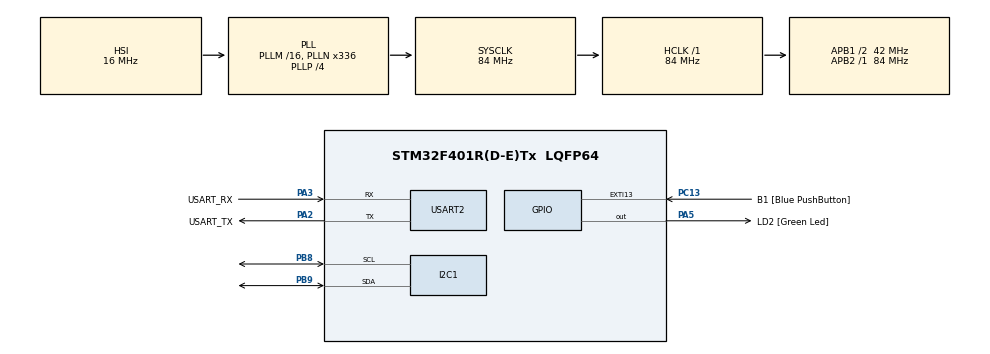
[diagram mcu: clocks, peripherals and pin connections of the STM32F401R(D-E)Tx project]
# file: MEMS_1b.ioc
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Dma.Request0=USART2_TX
Dma.USART2_TX.0.Direction=DMA_MEMORY_TO_PERIPH
Dma.USART2_TX.0.FIFOMode=DMA_FIFOMODE_DISABLE
Dma.USART2_TX.0.Instance=DMA1_Stream6
Dma.USART2_TX.0.MemDataAlignment=DMA_MDATAALIGN_BYTE
Dma.USART2_TX.0.MemInc=DMA_MINC_ENABLE
Dma.USART2_TX.0.Mode=DMA_NORMAL
Dma.USART2_TX.0.PeriphDataAlignment=DMA_PDATAALIGN_BYTE
Dma.USART2_TX.0.PeriphInc=DMA_PINC_DISABLE
Dma.USART2_TX.0.Priority=DMA_PRIORITY_LOW
Mcu.Family=STM32F4
Mcu.Name=STM32F401R(D-E)Tx
Mcu.Package=LQFP64
NVIC.DMA1_Stream6_IRQn=true\:0\:0\:false\:false\:true\:false\:true\:true
NVIC.PriorityGroup=NVIC_PRIORITYGROUP_0
NVIC.TIM2_IRQn=true\:0\:0\:false\:false\:true\:true\:true\:true
NVIC.USART2_IRQn=true\:0\:0\:false\:false\:true\:true\:true\:true
PA13.GPIO_Label=TMS
PA13.Mode=Serial_Wire
PA13.Signal=SYS_JTMS-SWDIO
PA14.GPIO_Label=TCK
PA14.Mode=Serial_Wire
PA14.Signal=SYS_JTCK-SWCLK
PA2.GPIO_Label=USART_TX
PA2.GPIO_Mode=GPIO_MODE_AF_PP
PA2.GPIO_PuPd=GPIO_NOPULL
PA2.GPIO_Speed=GPIO_SPEED_FREQ_LOW
PA2.Mode=Asynchronous
PA2.Signal=USART2_TX
PA3.GPIO_Label=USART_RX
PA3.GPIO_Mode=GPIO_MODE_AF_PP
PA3.GPIO_PuPd=GPIO_NOPULL
PA3.GPIO_Speed=GPIO_SPEED_FREQ_LOW
PA3.Mode=Asynchronous
PA3.Signal=USART2_RX
PA5.GPIO_Label=LD2 [Green Led]
PA5.GPIO_Mode=GPIO_MODE_OUTPUT_PP
PA5.GPIO_PuPd=GPIO_NOPULL
PA5.GPIO_Speed=GPIO_SPEED_FREQ_LOW
PA5.Signal=GPIO_Output
PB3.GPIO_Label=SWO
PB3.Signal=SYS_JTDO-SWO
PB8.Mode=I2C
PB8.Signal=I2C1_SCL
PB9.Mode=I2C
PB9.Signal=I2C1_SDA
PC13-ANTI_TAMP.GPIO_Label=B1 [Blue PushButton]
PC13-ANTI_TAMP.GPIO_ModeDefaultEXTI=GPIO_MODE_IT_FALLING
PC13-ANTI_TAMP.GPIO_PuPd=GPIO_NOPULL
PC13-ANTI_TAMP.Signal=GPXTI13
PC14-OSC32_IN.Mode=LSE-External-Oscillator
PC14-OSC32_IN.Signal=RCC_OSC32_IN
PC15-OSC32_OUT.Mode=LSE-External-Oscillator
PC15-OSC32_OUT.Signal=RCC_OSC32_OUT
PH0\ -\ OSC_IN.Mode=HSE-External-Clock-Source
PH0\ -\ OSC_IN.Signal=RCC_OSC_IN
PH1\ -\ OSC_OUT.Mode=HSE-External-Clock-Source
PH1\ -\ OSC_OUT.Signal=RCC_OSC_OUT
ProjectManager.HeapSize=0x200
ProjectManager.StackSize=0x400
ProjectManager.TargetToolchain=STM32CubeIDE
RCC.48MHZClocksFreq_Value=48000000
RCC.AHBFreq_Value=84000000
RCC.APB1CLKDivider=RCC_HCLK_DIV2
RCC.APB1Freq_Value=42000000
RCC.APB1TimFreq_Value=84000000
RCC.APB2Freq_Value=84000000
RCC.APB2TimFreq_Value=84000000
RCC.CortexFreq_Value=84000000
RCC.HCLKFreq_Value=84000000
RCC.HSE_VALUE=8000000
RCC.HSI_VALUE=16000000
RCC.PLLN=336
RCC.PLLP=RCC_PLLP_DIV4
RCC.PLLQ=7
RCC.SYSCLKFreq_VALUE=84000000
RCC.SYSCLKSource=RCC_SYSCLKSOURCE_PLLCLK
RCC.VCOOutputFreq_Value=336000000
TIM2.Period=(TEMPO*10)-1
TIM2.Prescaler=8400-1
USART2.VirtualMode=VM_ASYNC
VP_TIM2_VS_ClockSourceINT.Mode=Internal
board=NUCLEO-F401RE

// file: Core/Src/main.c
/* USER CODE BEGIN Header */
/**
  ******************************************************************************
  * @file           : main.c
  * @brief          : Main program body
  ******************************************************************************
  * @attention
  *
  * Copyright (c) 2024 STMicroelectronics.
  * All rights reserved.
  *
  * This software is licensed under terms that can be found in the LICENSE file
  * in the root directory of this software component.
  * If no LICENSE file comes with this software, it is provided AS-IS.
  *
  ******************************************************************************
  */
/* USER CODE END Header */
#include "main.h"
#include "stdio.h"

/* USER CODE BEGIN PD */
#define TEMPO 1000
/* USER CODE END PD */

I2C_HandleTypeDef hi2c1;

TIM_HandleTypeDef htim2;

UART_HandleTypeDef huart2;
DMA_HandleTypeDef hdma_usart2_tx;

/* USER CODE BEGIN PV */
uint16_t MEMS_WR_ADDRESS = 0b01010000; //LISDE write address
//uint16_t MEMS_RD_ADDRESS = 0b01010001; LISDE read address == MEMS_WR_ADDRESS+1

uint16_t MEMS12_WR_ADDRESS = 0b00110000; //LISDE12 write address
//uint16_t MEMS12_RD_ADDRESS = 0b00110001; LISDE read address == MEMS12_WR_ADDRESS+1

uint8_t CTRL_REG1[] = {0x20, 0b00010111}; //reg address, 1Hz + normal mode + XYZ enabled
uint8_t CTRL_REG2[] = {0x21, 0b00000000}; //reg address, no HPF (default value at startup)
uint8_t CTRL_REG4[] = {0x23, 0b00000000}; //reg address, continuos update + 2g FSR + self test disabled (default value at st)

uint8_t MEMS_REGISTER_X = 0x29;
uint8_t MEMS_REGISTER_Y = 0x2B;
uint8_t MEMS_REGISTER_Z = 0x2D;

uint16_t size = 1;
uint32_t timeout = 10;

char string[32];
int string_length = 0;

int8_t x, y, z = 0;
/* USER CODE END PV */

void SystemClock_Config(void);
static void MX_GPIO_Init(void);
static void MX_DMA_Init(void);
static void MX_USART2_UART_Init(void);
static void MX_I2C1_Init(void);
static void MX_TIM2_Init(void);

/* USER CODE BEGIN 0 */
void HAL_TIM_PeriodElapsedCallback (TIM_HandleTypeDef *htim) {
	 x = 0;
	 HAL_I2C_Master_Transmit(&hi2c1, MEMS_WR_ADDRESS, &MEMS_REGISTER_X, size, timeout);
	 HAL_I2C_Master_Receive(&hi2c1, MEMS_WR_ADDRESS+1, &x, size, timeout);

	 y = 0;
	 HAL_I2C_Master_Transmit(&hi2c1, MEMS_WR_ADDRESS, &MEMS_REGISTER_Y, size, timeout);
	 HAL_I2C_Master_Receive(&hi2c1, MEMS_WR_ADDRESS+1, &y, size, timeout);

	 z = 0;
	 HAL_I2C_Master_Transmit(&hi2c1, MEMS_WR_ADDRESS, &MEMS_REGISTER_Z, size, timeout);
	 HAL_I2C_Master_Receive(&hi2c1, MEMS_WR_ADDRESS+1, &z, size, timeout);

	 float acc_g_x = x / 64.0; // Divide so to let the value range in +/-2 g
	 float acc_g_y = y / 64.0;
	 float acc_g_z = z / 64.0;

	 string_length = snprintf(string, sizeof(string), "X:%.2fg, Y:%.2fg, Z:%.2fg\n", acc_g_x, acc_g_y, acc_g_z);
	 HAL_UART_Transmit_DMA(&huart2, (uint8_t*)string, string_length);
}

/* USER CODE END 0 */

int main(void)
{

  /* MCU Configuration--------------------------------------------------------*/

  /* Reset of all peripherals, Initializes the Flash interface and the Systick. */
  HAL_Init();

  /* Configure the system clock */
  SystemClock_Config();

  /* Initialize all configured peripherals */
  MX_GPIO_Init();
  MX_DMA_Init();
  MX_USART2_UART_Init();
  MX_I2C1_Init();
  MX_TIM2_Init();
  /* USER CODE BEGIN 2 */

  if (HAL_I2C_Master_Transmit(&hi2c1, MEMS_WR_ADDRESS, CTRL_REG1, sizeof(CTRL_REG1), timeout) == HAL_OK) {
	  string_length = snprintf(string, sizeof(string), "LIS2DE found!\n");
  }
  else {
      if (HAL_I2C_Master_Transmit(&hi2c1, MEMS12_WR_ADDRESS, CTRL_REG1, sizeof(CTRL_REG1), timeout) == HAL_OK) {
    	  string_length = snprintf(string, sizeof(string), "LIS2DE12 found!\n");
      }
      else {
          string_length = snprintf(string, sizeof(string), "Error! No device found!\n");
      }
  }

  HAL_UART_Transmit_DMA(&huart2, (uint8_t*)string, string_length);

  HAL_I2C_Master_Transmit(&hi2c1, MEMS_WR_ADDRESS, CTRL_REG2, sizeof(CTRL_REG2), timeout);
  HAL_I2C_Master_Transmit(&hi2c1, MEMS_WR_ADDRESS, CTRL_REG4, sizeof(CTRL_REG4), timeout);

  HAL_TIM_Base_Start_IT(&htim2);

  /* USER CODE END 2 */

  /* Infinite loop */
  while (1)
  {

  }
}

void SystemClock_Config(void)
{
  RCC_OscInitTypeDef RCC_OscInitStruct = {0};
  RCC_ClkInitTypeDef RCC_ClkInitStruct = {0};

  /** Configure the main internal regulator output voltage
  */
  __HAL_RCC_PWR_CLK_ENABLE();
  __HAL_PWR_VOLTAGESCALING_CONFIG(PWR_REGULATOR_VOLTAGE_SCALE2);

  /** Initializes the RCC Oscillators according to the specified parameters
  * in the RCC_OscInitTypeDef structure.
  */
  RCC_OscInitStruct.OscillatorType = RCC_OSCILLATORTYPE_HSI;
  RCC_OscInitStruct.HSIState = RCC_HSI_ON;
  RCC_OscInitStruct.HSICalibrationValue = RCC_HSICALIBRATION_DEFAULT;
  RCC_OscInitStruct.PLL.PLLState = RCC_PLL_ON;
  RCC_OscInitStruct.PLL.PLLSource = RCC_PLLSOURCE_HSI;
  RCC_OscInitStruct.PLL.PLLM = 16;
  RCC_OscInitStruct.PLL.PLLN = 336;
  RCC_OscInitStruct.PLL.PLLP = RCC_PLLP_DIV4;
  RCC_OscInitStruct.PLL.PLLQ = 7;
  if (HAL_RCC_OscConfig(&RCC_OscInitStruct) != HAL_OK)
  {
    Error_Handler();
  }

  /** Initializes the CPU, AHB and APB buses clocks
  */
  RCC_ClkInitStruct.ClockType = RCC_CLOCKTYPE_HCLK|RCC_CLOCKTYPE_SYSCLK
                              |RCC_CLOCKTYPE_PCLK1|RCC_CLOCKTYPE_PCLK2;
  RCC_ClkInitStruct.SYSCLKSource = RCC_SYSCLKSOURCE_PLLCLK;
  RCC_ClkInitStruct.AHBCLKDivider = RCC_SYSCLK_DIV1;
  RCC_ClkInitStruct.APB1CLKDivider = RCC_HCLK_DIV2;
  RCC_ClkInitStruct.APB2CLKDivider = RCC_HCLK_DIV1;

  if (HAL_RCC_ClockConfig(&RCC_ClkInitStruct, FLASH_LATENCY_2) != HAL_OK)
  {
    Error_Handler();
  }
}

static void MX_I2C1_Init(void)
{

  hi2c1.Instance = I2C1;
  hi2c1.Init.ClockSpeed = 100000;
  hi2c1.Init.DutyCycle = I2C_DUTYCYCLE_2;
  hi2c1.Init.OwnAddress1 = 0;
  hi2c1.Init.AddressingMode = I2C_ADDRESSINGMODE_7BIT;
  hi2c1.Init.DualAddressMode = I2C_DUALADDRESS_DISABLE;
  hi2c1.Init.OwnAddress2 = 0;
  hi2c1.Init.GeneralCallMode = I2C_GENERALCALL_DISABLE;
  hi2c1.Init.NoStretchMode = I2C_NOSTRETCH_DISABLE;
  if (HAL_I2C_Init(&hi2c1) != HAL_OK)
  {
    Error_Handler();
  }

}

static void MX_TIM2_Init(void)
{

  TIM_ClockConfigTypeDef sClockSourceConfig = {0};
  TIM_MasterConfigTypeDef sMasterConfig = {0};

  htim2.Instance = TIM2;
  htim2.Init.Prescaler = 8400-1;
  htim2.Init.CounterMode = TIM_COUNTERMODE_UP;
  htim2.Init.Period = (TEMPO*10)-1;
  htim2.Init.ClockDivision = TIM_CLOCKDIVISION_DIV1;
  htim2.Init.AutoReloadPreload = TIM_AUTORELOAD_PRELOAD_DISABLE;
  if (HAL_TIM_Base_Init(&htim2) != HAL_OK)
  {
    Error_Handler();
  }
  sClockSourceConfig.ClockSource = TIM_CLOCKSOURCE_INTERNAL;
  if (HAL_TIM_ConfigClockSource(&htim2, &sClockSourceConfig) != HAL_OK)
  {
    Error_Handler();
  }
  sMasterConfig.MasterOutputTrigger = TIM_TRGO_RESET;
  sMasterConfig.MasterSlaveMode = TIM_MASTERSLAVEMODE_DISABLE;
  if (HAL_TIMEx_MasterConfigSynchronization(&htim2, &sMasterConfig) != HAL_OK)
  {
    Error_Handler();
  }

}

static void MX_USART2_UART_Init(void)
{

  huart2.Instance = USART2;
  huart2.Init.BaudRate = 115200;
  huart2.Init.WordLength = UART_WORDLENGTH_8B;
  huart2.Init.StopBits = UART_STOPBITS_1;
  huart2.Init.Parity = UART_PARITY_NONE;
  huart2.Init.Mode = UART_MODE_TX_RX;
  huart2.Init.HwFlowCtl = UART_HWCONTROL_NONE;
  huart2.Init.OverSampling = UART_OVERSAMPLING_16;
  if (HAL_UART_Init(&huart2) != HAL_OK)
  {
    Error_Handler();
  }

}

static void MX_DMA_Init(void)
{

  /* DMA controller clock enable */
  __HAL_RCC_DMA1_CLK_ENABLE();

  /* DMA interrupt init */
  /* DMA1_Stream6_IRQn interrupt configuration */
  HAL_NVIC_SetPriority(DMA1_Stream6_IRQn, 0, 0);
  HAL_NVIC_EnableIRQ(DMA1_Stream6_IRQn);

}

static void MX_GPIO_Init(void)
{
  GPIO_InitTypeDef GPIO_InitStruct = {0};

  /* GPIO Ports Clock Enable */
  __HAL_RCC_GPIOC_CLK_ENABLE();
  __HAL_RCC_GPIOH_CLK_ENABLE();
  __HAL_RCC_GPIOA_CLK_ENABLE();
  __HAL_RCC_GPIOB_CLK_ENABLE();

  /*Configure GPIO pin Output Level */
  HAL_GPIO_WritePin(LD2_GPIO_Port, LD2_Pin, GPIO_PIN_RESET);

  /*Configure GPIO pin : B1_Pin */
  GPIO_InitStruct.Pin = B1_Pin;
  GPIO_InitStruct.Mode = GPIO_MODE_IT_FALLING;
  GPIO_InitStruct.Pull = GPIO_NOPULL;
  HAL_GPIO_Init(B1_GPIO_Port, &GPIO_InitStruct);

  /*Configure GPIO pin : LD2_Pin */
  GPIO_InitStruct.Pin = LD2_Pin;
  GPIO_InitStruct.Mode = GPIO_MODE_OUTPUT_PP;
  GPIO_InitStruct.Pull = GPIO_NOPULL;
  GPIO_InitStruct.Speed = GPIO_SPEED_FREQ_LOW;
  HAL_GPIO_Init(LD2_GPIO_Port, &GPIO_InitStruct);

}

void Error_Handler(void)
{
  __disable_irq();
  while (1)
  {
  }
}
